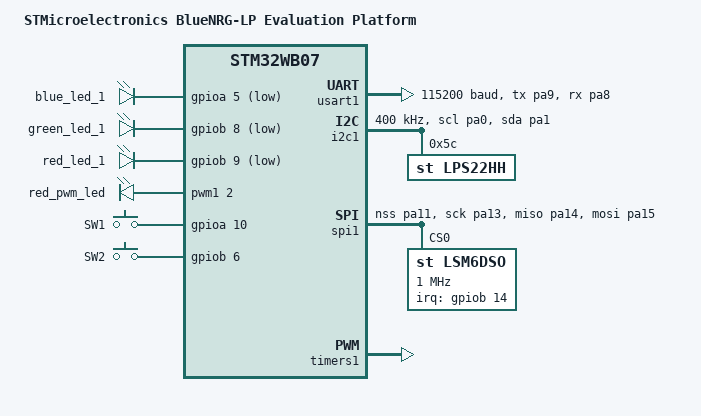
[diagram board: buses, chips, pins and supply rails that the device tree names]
/*
 * Copyright (c) 2024 STMicroelectronics
 *
 * SPDX-License-Identifier: Apache-2.0
 */

/dts-v1/;
#include <st/wb0/stm32wb07.dtsi>
#include <st/wb0/stm32wb07ccfx-pinctrl.dtsi>
#include <zephyr/dt-bindings/pwm/pwm.h>
#include <zephyr/dt-bindings/input/input-event-codes.h>

/ {
	model = "STMicroelectronics BlueNRG-LP Evaluation Platform";
	compatible = "st,steval-idb010v1";

	#address-cells = <1>;
	#size-cells = <1>;

	chosen {
		zephyr,console = &usart1;
		zephyr,shell-uart = &usart1;
		zephyr,sram = &sram0;
		zephyr,flash = &flash0;
	};

	leds: leds {
		compatible ="gpio-leds";
		blue_led_1: led_0 {
			gpios = <&gpioa 5 (GPIO_ACTIVE_LOW | GPIO_PULL_UP)>;
		};
		green_led_1: led_1 {
			gpios = <&gpiob 8 (GPIO_ACTIVE_LOW | GPIO_PULL_UP)>;
		};
		red_led_1: led_2 {
			gpios = <&gpiob 9 (GPIO_ACTIVE_LOW | GPIO_PULL_UP)>;
		};
	};

	pwmleds: pwmleds {
		compatible = "pwm-leds";
		status = "okay";

		red_pwm_led: red_pwm_led {
			pwms = <&pwm1 2 PWM_MSEC(20) PWM_POLARITY_NORMAL>;
		};
	};

	gpio_keys {
		compatible = "gpio-keys";
		user_button_1: button_0 {
			label = "SW1";
			gpios = <&gpioa 10 GPIO_ACTIVE_HIGH>;
			zephyr,code = <INPUT_KEY_0>;
		};
		user_button_2: button_1 {
			label = "SW2";
			gpios = <&gpiob 6 GPIO_ACTIVE_HIGH>;
			zephyr,code = <INPUT_KEY_1>;
		};
	};

	aliases {
		led0 = &blue_led_1;
		led1 = &green_led_1;
		led2 = &red_led_1;
		pwm-led0 = &red_pwm_led;
		sw0 = &user_button_1;
		sw1 = &user_button_2;
	};
};

&clk_lse {
	status = "disabled";
};

&clk_hse {
	status = "okay";
};

&clk_hsi {
	status = "okay";
};

&pll {
	status = "okay";
};

&rcc {
	clocks = <&pll>;
	clock-frequency = <DT_FREQ_M(64)>;
	clksys-prescaler = <1>;
	slow-clock = <&clk_lse>;
};

&usart1 {
	pinctrl-0 = <&usart1_tx_pa9 &usart1_rx_pa8>;
	pinctrl-names = "default";
	current-speed = <115200>;
	status = "okay";
};

&i2c1 {
	pinctrl-0 = <&i2c1_scl_pa0 &i2c1_sda_pa1>;
	pinctrl-names = "default";
	status = "okay";
	clock-frequency = <I2C_BITRATE_FAST>;

	lps22hh@5c {
		compatible = "st,lps22hh";
		reg = <0x5c>;
	};
};

&spi1 {
	pinctrl-0 = <&spi1_nss_pa11 &spi1_sck_pa13 &spi1_miso_pa14 &spi1_mosi_pa15>;
	pinctrl-names = "default";
	status = "okay";

	lsm6dso: lsm6dso@0 {
		compatible = "st,lsm6dso";
		spi-max-frequency = <1000000>;
		reg = <0>;
		irq-gpios = <&gpiob 14 GPIO_ACTIVE_HIGH>;
		int-pin = <1>;
	};
};

&timers1 {
	status = "okay";

	pwm1: pwm {
		/* PWM on blue_led_1 */
		pinctrl-0 = <&tim1_ch2_pa5>;
		pinctrl-names = "default";
		status = "okay";
	};
};
